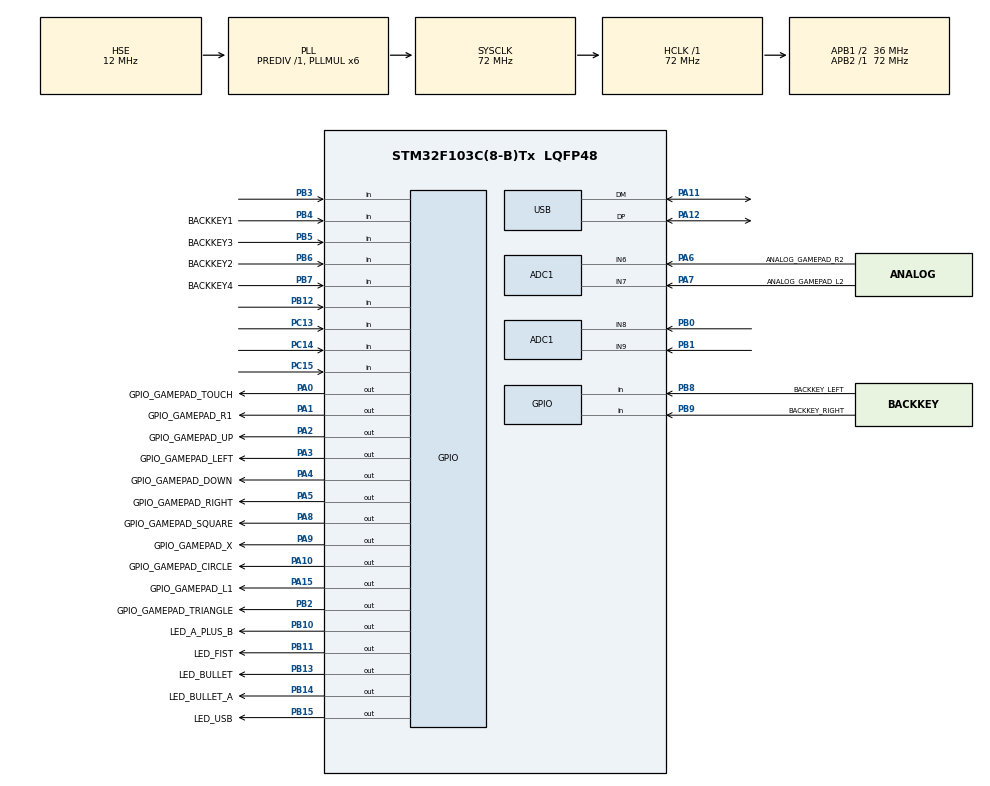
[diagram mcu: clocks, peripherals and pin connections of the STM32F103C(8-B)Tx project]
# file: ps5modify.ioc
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ADC1.Channel-0\#ChannelRegularConversion=ADC_CHANNEL_6
ADC1.Channel-1\#ChannelRegularConversion=ADC_CHANNEL_7
ADC1.Channel-2\#ChannelRegularConversion=ADC_CHANNEL_8
ADC1.Channel-3\#ChannelRegularConversion=ADC_CHANNEL_9
ADC1.NbrOfConversion=4
ADC1.NbrOfConversionFlag=1
ADC1.Rank-0\#ChannelRegularConversion=1
ADC1.Rank-1\#ChannelRegularConversion=2
ADC1.Rank-2\#ChannelRegularConversion=3
ADC1.Rank-3\#ChannelRegularConversion=4
ADC1.SamplingTime-0\#ChannelRegularConversion=ADC_SAMPLETIME_71CYCLES_5
ADC1.SamplingTime-1\#ChannelRegularConversion=ADC_SAMPLETIME_71CYCLES_5
ADC1.SamplingTime-2\#ChannelRegularConversion=ADC_SAMPLETIME_71CYCLES_5
ADC1.SamplingTime-3\#ChannelRegularConversion=ADC_SAMPLETIME_71CYCLES_5
ADC1.master=1
Dma.ADC1.0.Direction=DMA_PERIPH_TO_MEMORY
Dma.ADC1.0.Instance=DMA1_Channel1
Dma.ADC1.0.MemDataAlignment=DMA_MDATAALIGN_HALFWORD
Dma.ADC1.0.MemInc=DMA_MINC_ENABLE
Dma.ADC1.0.Mode=DMA_NORMAL
Dma.ADC1.0.PeriphDataAlignment=DMA_PDATAALIGN_HALFWORD
Dma.ADC1.0.PeriphInc=DMA_PINC_DISABLE
Dma.ADC1.0.Priority=DMA_PRIORITY_LOW
Dma.Request0=ADC1
Mcu.Family=STM32F1
Mcu.Name=STM32F103C(8-B)Tx
Mcu.Package=LQFP48
NVIC.DMA1_Channel1_IRQn=true\:0\:0\:false\:false\:true\:false\:true\:true
NVIC.PriorityGroup=NVIC_PRIORITYGROUP_4
NVIC.USB_HP_CAN1_TX_IRQn=true\:0\:0\:false\:false\:true\:true\:true\:true
NVIC.USB_LP_CAN1_RX0_IRQn=true\:0\:0\:false\:false\:true\:false\:true\:true
PA0-WKUP.GPIO_Label=GPIO_GAMEPAD_TOUCH
PA0-WKUP.GPIO_ModeDefaultOutputPP=GPIO_MODE_OUTPUT_OD
PA0-WKUP.GPIO_PuPd=GPIO_NOPULL
PA0-WKUP.PinState=GPIO_PIN_SET
PA0-WKUP.Signal=GPIO_Output
PA1.GPIO_Label=GPIO_GAMEPAD_R1
PA1.GPIO_ModeDefaultOutputPP=GPIO_MODE_OUTPUT_OD
PA1.GPIO_PuPd=GPIO_NOPULL
PA1.PinState=GPIO_PIN_SET
PA1.Signal=GPIO_Output
PA10.GPIO_Label=GPIO_GAMEPAD_CIRCLE
PA10.GPIO_ModeDefaultOutputPP=GPIO_MODE_OUTPUT_OD
PA10.GPIO_PuPd=GPIO_NOPULL
PA10.PinState=GPIO_PIN_SET
PA10.Signal=GPIO_Output
PA11.Mode=Device
PA11.Signal=USB_DM
PA12.Mode=Device
PA12.Signal=USB_DP
PA13.Mode=Serial_Wire
PA13.Signal=SYS_JTMS-SWDIO
PA14.Mode=Serial_Wire
PA14.Signal=SYS_JTCK-SWCLK
PA15.GPIO_Label=GPIO_GAMEPAD_L1
PA15.GPIO_ModeDefaultOutputPP=GPIO_MODE_OUTPUT_OD
PA15.GPIO_PuPd=GPIO_NOPULL
PA15.PinState=GPIO_PIN_SET
PA15.Signal=GPIO_Output
PA2.GPIO_Label=GPIO_GAMEPAD_UP
PA2.GPIO_ModeDefaultOutputPP=GPIO_MODE_OUTPUT_OD
PA2.GPIO_PuPd=GPIO_NOPULL
PA2.PinState=GPIO_PIN_SET
PA2.Signal=GPIO_Output
PA3.GPIO_Label=GPIO_GAMEPAD_LEFT
PA3.GPIO_ModeDefaultOutputPP=GPIO_MODE_OUTPUT_OD
PA3.GPIO_PuPd=GPIO_NOPULL
PA3.PinState=GPIO_PIN_SET
PA3.Signal=GPIO_Output
PA4.GPIO_Label=GPIO_GAMEPAD_DOWN
PA4.GPIO_ModeDefaultOutputPP=GPIO_MODE_OUTPUT_OD
PA4.GPIO_PuPd=GPIO_NOPULL
PA4.PinState=GPIO_PIN_SET
PA4.Signal=GPIO_Output
PA5.GPIO_Label=GPIO_GAMEPAD_RIGHT
PA5.GPIO_ModeDefaultOutputPP=GPIO_MODE_OUTPUT_OD
PA5.GPIO_PuPd=GPIO_NOPULL
PA5.PinState=GPIO_PIN_SET
PA5.Signal=GPIO_Output
PA6.GPIO_Label=ANALOG_GAMEPAD_R2
PA6.GPIO_ModeDefaultOutputPP=GPIO_MODE_OUTPUT_OD
PA6.GPIO_PuPd=GPIO_NOPULL
PA6.PinState=GPIO_PIN_SET
PA6.Signal=ADCx_IN6
PA7.GPIO_Label=ANALOG_GAMEPAD_L2
PA7.GPIO_ModeDefaultOutputPP=GPIO_MODE_OUTPUT_OD
PA7.GPIO_PuPd=GPIO_NOPULL
PA7.PinState=GPIO_PIN_SET
PA7.Signal=ADCx_IN7
PA8.GPIO_Label=GPIO_GAMEPAD_SQUARE
PA8.GPIO_ModeDefaultOutputPP=GPIO_MODE_OUTPUT_OD
PA8.GPIO_PuPd=GPIO_NOPULL
PA8.PinState=GPIO_PIN_SET
PA8.Signal=GPIO_Output
PA9.GPIO_Label=GPIO_GAMEPAD_X
PA9.GPIO_ModeDefaultOutputPP=GPIO_MODE_OUTPUT_OD
PA9.GPIO_PuPd=GPIO_NOPULL
PA9.PinState=GPIO_PIN_SET
PA9.Signal=GPIO_Output
PB0.Signal=ADCx_IN8
PB1.Signal=ADCx_IN9
PB10.GPIO_Label=LED_A_PLUS_B
PB10.GPIO_ModeDefaultOutputPP=GPIO_MODE_OUTPUT_PP
PB10.GPIO_PuPd=GPIO_NOPULL
PB10.Signal=GPIO_Output
PB11.GPIO_Label=LED_FIST
PB11.GPIO_ModeDefaultOutputPP=GPIO_MODE_OUTPUT_PP
PB11.GPIO_PuPd=GPIO_NOPULL
PB11.Signal=GPIO_Output
PB12.Signal=GPIO_Input
PB13.GPIO_Label=LED_BULLET
PB13.GPIO_ModeDefaultOutputPP=GPIO_MODE_OUTPUT_PP
PB13.GPIO_PuPd=GPIO_NOPULL
PB13.Signal=GPIO_Output
PB14.GPIO_Label=LED_BULLET_A
PB14.GPIO_ModeDefaultOutputPP=GPIO_MODE_OUTPUT_PP
PB14.GPIO_PuPd=GPIO_NOPULL
PB14.Signal=GPIO_Output
PB15.GPIO_Label=LED_USB
PB15.GPIO_ModeDefaultOutputPP=GPIO_MODE_OUTPUT_PP
PB15.GPIO_PuPd=GPIO_NOPULL
PB15.Signal=GPIO_Output
PB2.GPIO_Label=GPIO_GAMEPAD_TRIANGLE
PB2.GPIO_ModeDefaultOutputPP=GPIO_MODE_OUTPUT_OD
PB2.GPIO_PuPd=GPIO_NOPULL
PB2.PinState=GPIO_PIN_SET
PB2.Signal=GPIO_Output
PB3.Signal=GPIO_Input
PB4.GPIO_Label=BACKKEY1
PB4.Signal=GPIO_Input
PB5.GPIO_Label=BACKKEY3
PB5.Signal=GPIO_Input
PB6.GPIO_Label=BACKKEY2
PB6.Signal=GPIO_Input
PB7.GPIO_Label=BACKKEY4
PB7.Signal=GPIO_Input
PB8.GPIO_Label=BACKKEY_LEFT
PB8.Signal=GPIO_Input
PB9.GPIO_Label=BACKKEY_RIGHT
PB9.Signal=GPIO_Input
PC13-TAMPER-RTC.Signal=GPIO_Input
PC14-OSC32_IN.Signal=GPIO_Input
PC15-OSC32_OUT.Signal=GPIO_Input
PD0-OSC_IN.Mode=HSE-External-Oscillator
PD0-OSC_IN.Signal=RCC_OSC_IN
PD1-OSC_OUT.Mode=HSE-External-Oscillator
PD1-OSC_OUT.Signal=RCC_OSC_OUT
ProjectManager.HeapSize=0x200
ProjectManager.StackSize=0x400
ProjectManager.TargetToolchain=MDK-ARM V5
RCC.ADCPresc=RCC_ADCPCLK2_DIV6
RCC.AHBFreq_Value=72000000
RCC.APB1CLKDivider=RCC_HCLK_DIV2
RCC.APB1Freq_Value=36000000
RCC.APB1TimFreq_Value=72000000
RCC.APB2Freq_Value=72000000
RCC.APB2TimFreq_Value=72000000
RCC.HCLKFreq_Value=72000000
RCC.HSE_VALUE=12000000
RCC.PLLMUL=RCC_PLL_MUL6
RCC.PLLSourceVirtual=RCC_PLLSOURCE_HSE
RCC.SYSCLKFreq_VALUE=72000000
RCC.SYSCLKSource=RCC_SYSCLKSOURCE_PLLCLK
RCC.USBFreq_Value=48000000
RCC.USBPrescaler=RCC_USBCLKSOURCE_PLL_DIV1_5
SH.ADCx_IN6.0=ADC1_IN6,IN6
SH.ADCx_IN7.0=ADC1_IN7,IN7
SH.ADCx_IN8.0=ADC1_IN8,IN8
SH.ADCx_IN9.0=ADC1_IN9,IN9
USB_DEVICE.CLASS_NAME_FS=CDC
USB_DEVICE.USBD_SELF_POWERED=0
USB_DEVICE.VirtualMode=Cdc
USB_DEVICE.VirtualModeFS=Cdc_FS
VP_USB_DEVICE_VS_USB_DEVICE_CDC_FS.Mode=CDC_FS
board=custom

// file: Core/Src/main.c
/* USER CODE BEGIN Header */
/**
  ******************************************************************************
  * @file           : main.c
  * @brief          : Main program body
  ******************************************************************************
  * @attention
  *
  * Copyright (c) 2023 STMicroelectronics.
  * All rights reserved.
  *
  * This software is licensed under terms that can be found in the LICENSE file
  * in the root directory of this software component.
  * If no LICENSE file comes with this software, it is provided AS-IS.
  *
  ******************************************************************************
  */
/* USER CODE END Header */
#include "main.h"
#include "usb_device.h"

/* USER CODE BEGIN Includes */

#include "usbd_cdc_if.h"
/* USER CODE END Includes */

/* USER CODE BEGIN PTD */
// 通信协议
typedef struct{
	uint32_t preamble:24;
	uint32_t type:8;
	uint32_t Timestamp;
	uint32_t KeyStat;
} KeyMessage_t;//当有按键被按下时,下位机报给上位机

typedef struct{
	uint32_t preamble:24;
	uint32_t type:8;
	uint32_t Timestamp;
	uint32_t KeyStat;
} KeyOperation_t;//上位机发给下位机要求按下指定的按键
typedef enum{
	OP_PRESS,
	OP_WAIT,
	OP_JUMP,
} Operator_t;
typedef __packed struct {
	Operator_t Operator;
	int16_t Operand;
} Command_t;

/* USER CODE END PTD */

/* USER CODE BEGIN PM */
#define MAGICNUMBER 0x16DB2E
#define FRAME_KEYMESSAGE   0x01
#define FRAME_KEYOPERATION 0x02
#define FRAME_KEYPROGRAM   0x03
// 按键扫描码表
// 游戏机按键 可读可写
#define SCANCODE_TOUCH 0x00000001
#define SCANCODE_SQUARE 0x00000002
#define SCANCODE_X 0x00000004
#define SCANCODE_CIRCLE 0x00000008
#define SCANCODE_TRIANGLE 0x00000010
#define SCANCODE_UP 0x00000020
#define SCANCODE_DOWN 0x00000040
#define SCANCODE_LEFT 0x00000080
#define SCANCODE_RIGHT 0x00000100
#define SCANCODE_L1 0x00000200
#define SCANCODE_R1 0x00000400
#define SCANCODE_L2 0x00000800
#define SCANCODE_R2 0x00001000
//#define SCANCODE_L3 0x00002000
//#define SCANCODE_R3 0x00004000
// 背键 只读
#define SCANCODE_BACKKEY1 0x00010000
#define SCANCODE_BACKKEY2 0x00020000
#define SCANCODE_BACKKEY3 0x00040000
#define SCANCODE_BACKKEY4 0x00080000
#define SCANCODE_BACKKEYLEFT 0x00100000
#define SCANCODE_BACKKEYRIGHT 0x00200000

#define SCANCODE_ALL  0x003F07FF
#define SCANCODE_GAMEPAD  0x000007FF
#define SCANCODE_BACKKEY  0x003F0000
/* USER CODE END PM */

ADC_HandleTypeDef hadc1;
DMA_HandleTypeDef hdma_adc1;

/* USER CODE BEGIN PV */
const struct{
	Command_t prog_BACKKEY1[1024];
	Command_t prog_BACKKEY2[1024];
	Command_t prog_BACKKEY3[1024];
	Command_t prog_BACKKEY4[1024];
//	Command_t prog_BACKKEYLEFT[1024];
//	Command_t prog_BACKKEYRIGHT[1024];
} ProgramSet = {
	.prog_BACKKEY1 = {
		{OP_PRESS,SCANCODE_SQUARE},
		{OP_WAIT,41},
		{OP_PRESS,SCANCODE_CIRCLE},
		{OP_WAIT,19},
		{OP_PRESS,0},
		{OP_WAIT,38},
		{OP_JUMP,5}
	},
	.prog_BACKKEY2 = {
		{OP_PRESS,SCANCODE_R2},
		{OP_JUMP,2}
	},
	.prog_BACKKEY3 = {
		{OP_JUMP,1}
	},
	.prog_BACKKEY4 = {
		{OP_PRESS,SCANCODE_L2},
		{OP_JUMP,2}
	},
//	.prog_BACKKEYLEFT = {
//		{OP_JUMP,1}
//	},
//	.prog_BACKKEYRIGHT = {
//		{OP_JUMP,1}
//	},
};
// TODO 做从电脑download脚本的接口
//TODO 做从电脑下发按键的接口
uint32_t KeyStat,KeyPressed,KeyReleased;
/* USER CODE END PV */

void SystemClock_Config(void);
static void MX_GPIO_Init(void);
static void MX_DMA_Init(void);
static void MX_ADC1_Init(void);

/* USER CODE BEGIN 0 */
uint32_t ReadKeyStatus(){
	uint32_t stat=0;
	if(!HAL_GPIO_ReadPin(GPIO_GAMEPAD_TOUCH_GPIO_Port,GPIO_GAMEPAD_TOUCH_Pin))      stat |=  SCANCODE_TOUCH;
	if(!HAL_GPIO_ReadPin(GPIO_GAMEPAD_R1_GPIO_Port,GPIO_GAMEPAD_R1_Pin))            stat |=  SCANCODE_R1;
	if(!HAL_GPIO_ReadPin(GPIO_GAMEPAD_UP_GPIO_Port,GPIO_GAMEPAD_UP_Pin))            stat |=  SCANCODE_UP;
	if(!HAL_GPIO_ReadPin(GPIO_GAMEPAD_LEFT_GPIO_Port,GPIO_GAMEPAD_LEFT_Pin))        stat |=  SCANCODE_LEFT;
	if(!HAL_GPIO_ReadPin(GPIO_GAMEPAD_DOWN_GPIO_Port,GPIO_GAMEPAD_DOWN_Pin))        stat |=  SCANCODE_DOWN;
	if(!HAL_GPIO_ReadPin(GPIO_GAMEPAD_RIGHT_GPIO_Port,GPIO_GAMEPAD_RIGHT_Pin))      stat |=  SCANCODE_RIGHT;
	if(!HAL_GPIO_ReadPin(GPIO_GAMEPAD_TRIANGLE_GPIO_Port,GPIO_GAMEPAD_TRIANGLE_Pin))stat |=  SCANCODE_TRIANGLE;
	if(!HAL_GPIO_ReadPin(GPIO_GAMEPAD_SQUARE_GPIO_Port,GPIO_GAMEPAD_SQUARE_Pin))    stat |=  SCANCODE_SQUARE;
	if(!HAL_GPIO_ReadPin(GPIO_GAMEPAD_X_GPIO_Port,GPIO_GAMEPAD_X_Pin))              stat |=  SCANCODE_X;
	if(!HAL_GPIO_ReadPin(GPIO_GAMEPAD_CIRCLE_GPIO_Port,GPIO_GAMEPAD_CIRCLE_Pin))    stat |=  SCANCODE_CIRCLE;
	if(!HAL_GPIO_ReadPin(GPIO_GAMEPAD_L1_GPIO_Port,GPIO_GAMEPAD_L1_Pin))            stat |=  SCANCODE_L1;

	if(!HAL_GPIO_ReadPin(BACKKEY1_GPIO_Port,BACKKEY1_Pin))            stat |=  SCANCODE_BACKKEY1;
	if(!HAL_GPIO_ReadPin(BACKKEY2_GPIO_Port,BACKKEY2_Pin))            stat |=  SCANCODE_BACKKEY2;
	if(!HAL_GPIO_ReadPin(BACKKEY3_GPIO_Port,BACKKEY3_Pin))            stat |=  SCANCODE_BACKKEY3;
	if(!HAL_GPIO_ReadPin(BACKKEY4_GPIO_Port,BACKKEY4_Pin))            stat |=  SCANCODE_BACKKEY4;
	if(!HAL_GPIO_ReadPin(BACKKEY_LEFT_GPIO_Port,BACKKEY_LEFT_Pin))    stat |=  SCANCODE_BACKKEYLEFT;
	if(!HAL_GPIO_ReadPin(BACKKEY_RIGHT_GPIO_Port,BACKKEY_RIGHT_Pin))  stat |=  SCANCODE_BACKKEYRIGHT;

	uint16_t adcvalue[4];
	HAL_ADC_Start_DMA(&hadc1, (void*)adcvalue, 4);
	HAL_ADC_PollForConversion(&hadc1,10);
	if(adcvalue[0] < 0x0200)  stat |=  SCANCODE_R2;
	if(adcvalue[1] < 0x0200)  stat |=  SCANCODE_L2;
	return stat;

}
uint32_t ReadDejitteredKeyStat(){
	static uint32_t newKeyStat[2];
	newKeyStat[1] = newKeyStat[0];
	newKeyStat[0] = ReadKeyStatus();
	// 如果连续2次读取均稳定,则更新状态;否则不更新
	uint32_t newKeyStat_hi=newKeyStat[1] & newKeyStat[0];
	KeyPressed = (~KeyStat) & newKeyStat_hi & SCANCODE_ALL;
	KeyStat|=newKeyStat_hi;
	uint32_t newKeyStat_lo=~(newKeyStat[1] | newKeyStat[0]);
	KeyReleased = (KeyStat) & newKeyStat_lo &SCANCODE_ALL;
	KeyStat&=(~newKeyStat_lo);
	KeyStat&=SCANCODE_ALL;
	return KeyStat;
}
void WriteKeyStat(uint32_t KeyCode){
	HAL_GPIO_WritePin(GPIO_GAMEPAD_TOUCH_GPIO_Port,GPIO_GAMEPAD_TOUCH_Pin,(KeyCode & SCANCODE_TOUCH)?0:1);
	HAL_GPIO_WritePin(GPIO_GAMEPAD_R1_GPIO_Port,GPIO_GAMEPAD_R1_Pin,(KeyCode & SCANCODE_R1)?0:1);
	HAL_GPIO_WritePin(GPIO_GAMEPAD_UP_GPIO_Port,GPIO_GAMEPAD_UP_Pin,(KeyCode & SCANCODE_UP)?0:1);
	HAL_GPIO_WritePin(GPIO_GAMEPAD_LEFT_GPIO_Port,GPIO_GAMEPAD_LEFT_Pin,(KeyCode & SCANCODE_LEFT)?0:1);
	HAL_GPIO_WritePin(GPIO_GAMEPAD_DOWN_GPIO_Port,GPIO_GAMEPAD_DOWN_Pin,(KeyCode & SCANCODE_DOWN)?0:1);
	HAL_GPIO_WritePin(GPIO_GAMEPAD_RIGHT_GPIO_Port,GPIO_GAMEPAD_RIGHT_Pin,(KeyCode & SCANCODE_RIGHT)?0:1);
	HAL_GPIO_WritePin(GPIO_GAMEPAD_TRIANGLE_GPIO_Port,GPIO_GAMEPAD_TRIANGLE_Pin,(KeyCode & SCANCODE_TRIANGLE)?0:1);
	HAL_GPIO_WritePin(GPIO_GAMEPAD_SQUARE_GPIO_Port,GPIO_GAMEPAD_SQUARE_Pin,(KeyCode & SCANCODE_SQUARE)?0:1);
	HAL_GPIO_WritePin(GPIO_GAMEPAD_X_GPIO_Port,GPIO_GAMEPAD_X_Pin,(KeyCode & SCANCODE_X)?0:1);
	HAL_GPIO_WritePin(GPIO_GAMEPAD_CIRCLE_GPIO_Port,GPIO_GAMEPAD_CIRCLE_Pin,(KeyCode & SCANCODE_CIRCLE)?0:1);
	HAL_GPIO_WritePin(GPIO_GAMEPAD_L1_GPIO_Port,GPIO_GAMEPAD_L1_Pin,(KeyCode & SCANCODE_L1)?0:1);
	HAL_GPIO_WritePin(ANALOG_GAMEPAD_L2_GPIO_Port,ANALOG_GAMEPAD_L2_Pin,(KeyCode & SCANCODE_L2)?0:1);
	HAL_GPIO_WritePin(ANALOG_GAMEPAD_R2_GPIO_Port,ANALOG_GAMEPAD_R2_Pin,(KeyCode & SCANCODE_R2)?0:1);
}
const int FrameInterval = 10;// 10ms按键扫描间隔

/* USER CODE END 0 */

int main(void)
{

  /* MCU Configuration--------------------------------------------------------*/

  /* Reset of all peripherals, Initializes the Flash interface and the Systick. */
  HAL_Init();

  /* Configure the system clock */
  SystemClock_Config();

  /* Initialize all configured peripherals */
  MX_GPIO_Init();
  MX_DMA_Init();
  MX_USB_DEVICE_Init();
  MX_ADC1_Init();
  /* USER CODE BEGIN 2 */
  GPIO_InitTypeDef GPIO_InitStruct = {0};
	GPIO_InitStruct.Pin = ANALOG_GAMEPAD_R2_Pin|ANALOG_GAMEPAD_L2_Pin;
	GPIO_InitStruct.Mode = GPIO_MODE_OUTPUT_OD;
  GPIO_InitStruct.Pull = GPIO_NOPULL;
  GPIO_InitStruct.Speed = GPIO_SPEED_FREQ_LOW;
	HAL_GPIO_WritePin(ANALOG_GAMEPAD_R2_GPIO_Port,ANALOG_GAMEPAD_R2_Pin,1);
	HAL_GPIO_WritePin(ANALOG_GAMEPAD_R2_GPIO_Port,ANALOG_GAMEPAD_L2_Pin,1);
	HAL_GPIO_Init(ANALOG_GAMEPAD_R2_GPIO_Port, &GPIO_InitStruct);
  /* USER CODE END 2 */

  /* Infinite loop */
  /* USER CODE BEGIN WHILE */
 static uint8_t DEBUGDATA[200];
 uint32_t t=HAL_GetTick();
 enum{
	 STAT_IDLE,
	 STAT_BACKKEY1,
	 STAT_BACKKEY2,
	 STAT_BACKKEY3,
	 STAT_BACKKEY4,
	 STAT_BACKKEY_LEFT,
	 STAT_BACKKEY_RIGHT
 }status;
 uint16_t PC,A,B;

  while (1)
  {
    /* USER CODE END WHILE */

    /* USER CODE BEGIN 3 */
		if(HAL_GetTick() > FrameInterval + t){
			t=HAL_GetTick();
			uint32_t stat = ReadDejitteredKeyStat();
			//如果有操作 发送消息给上位机
			if(KeyPressed|KeyReleased){
				KeyMessage_t msg = {MAGICNUMBER,FRAME_KEYMESSAGE,HAL_GetTick(),stat};
				CDC_Transmit_FS((void*)&msg,sizeof(msg));
			}

			// 按键状态机
			switch(status){
				case STAT_IDLE:{
					if(KeyPressed & SCANCODE_BACKKEY1){
						A=B=PC=0;
						status = STAT_BACKKEY1;
					}
					if(KeyPressed & SCANCODE_BACKKEY2){
						A=B=PC=0;
						status = STAT_BACKKEY2;
					}
					if(KeyPressed & SCANCODE_BACKKEY3){
						A=B=PC=0;
						status = STAT_BACKKEY3;
					}
					if(KeyPressed & SCANCODE_BACKKEY4){
						A=B=PC=0;
						status = STAT_BACKKEY4;
					}
				}break;
				case STAT_BACKKEY1:{
					if(KeyReleased & SCANCODE_BACKKEY1){
						WriteKeyStat(0);
						status = STAT_IDLE;
					}else {
						Command_t cmd = ProgramSet.prog_BACKKEY1[PC];
						switch(cmd.Operator){
							case OP_PRESS:WriteKeyStat(cmd.Operand);break;
							case OP_WAIT:PC--;B++;if(B>=cmd.Operand){PC++;B=0;}break;
							case OP_JUMP:PC-=cmd.Operand;break;
						}
					}
					PC++;
				}break;
				case STAT_BACKKEY2:{
					if(KeyReleased & SCANCODE_BACKKEY2){
						WriteKeyStat(0);
						status = STAT_IDLE;
					}else {
						Command_t cmd = ProgramSet.prog_BACKKEY2[PC];
						switch(cmd.Operator){
							case OP_PRESS:WriteKeyStat(cmd.Operand);break;
							case OP_WAIT:PC--;B++;if(B>=cmd.Operand){PC++;B=0;}break;
							case OP_JUMP:PC-=cmd.Operand;break;
						}
					}
					PC++;
				}break;
				case STAT_BACKKEY3:{
					if(KeyReleased & SCANCODE_BACKKEY3){
						WriteKeyStat(0);
						status = STAT_IDLE;
					}else {
						Command_t cmd = ProgramSet.prog_BACKKEY3[PC];
						switch(cmd.Operator){
							case OP_PRESS:WriteKeyStat(cmd.Operand);break;
							case OP_WAIT:PC--;B++;if(B>=cmd.Operand){PC++;B=0;}break;
							case OP_JUMP:PC-=cmd.Operand;break;
						}
					}
					PC++;
				}break;
				case STAT_BACKKEY4:{
					if(KeyReleased & SCANCODE_BACKKEY4){
						WriteKeyStat(0);
						status = STAT_IDLE;
					}else {
						Command_t cmd = ProgramSet.prog_BACKKEY4[PC];
						switch(cmd.Operator){
							case OP_PRESS:WriteKeyStat(cmd.Operand);break;
							case OP_WAIT:PC--;B++;if(B>=cmd.Operand){PC++;B=0;}break;
							case OP_JUMP:PC-=cmd.Operand;break;
						}
					}
					PC++;
				}break;
				default:status = STAT_IDLE;break;
			}
		}

  }
  /* USER CODE END 3 */
}

void SystemClock_Config(void)
{
  RCC_OscInitTypeDef RCC_OscInitStruct = {0};
  RCC_ClkInitTypeDef RCC_ClkInitStruct = {0};
  RCC_PeriphCLKInitTypeDef PeriphClkInit = {0};

  /** Initializes the RCC Oscillators according to the specified parameters
  * in the RCC_OscInitTypeDef structure.
  */
  RCC_OscInitStruct.OscillatorType = RCC_OSCILLATORTYPE_HSE;
  RCC_OscInitStruct.HSEState = RCC_HSE_ON;
  RCC_OscInitStruct.HSEPredivValue = RCC_HSE_PREDIV_DIV1;
  RCC_OscInitStruct.HSIState = RCC_HSI_ON;
  RCC_OscInitStruct.PLL.PLLState = RCC_PLL_ON;
  RCC_OscInitStruct.PLL.PLLSource = RCC_PLLSOURCE_HSE;
  RCC_OscInitStruct.PLL.PLLMUL = RCC_PLL_MUL6;
  if (HAL_RCC_OscConfig(&RCC_OscInitStruct) != HAL_OK)
  {
    Error_Handler();
  }

  /** Initializes the CPU, AHB and APB buses clocks
  */
  RCC_ClkInitStruct.ClockType = RCC_CLOCKTYPE_HCLK|RCC_CLOCKTYPE_SYSCLK
                              |RCC_CLOCKTYPE_PCLK1|RCC_CLOCKTYPE_PCLK2;
  RCC_ClkInitStruct.SYSCLKSource = RCC_SYSCLKSOURCE_PLLCLK;
  RCC_ClkInitStruct.AHBCLKDivider = RCC_SYSCLK_DIV1;
  RCC_ClkInitStruct.APB1CLKDivider = RCC_HCLK_DIV2;
  RCC_ClkInitStruct.APB2CLKDivider = RCC_HCLK_DIV1;

  if (HAL_RCC_ClockConfig(&RCC_ClkInitStruct, FLASH_LATENCY_2) != HAL_OK)
  {
    Error_Handler();
  }
  PeriphClkInit.PeriphClockSelection = RCC_PERIPHCLK_ADC|RCC_PERIPHCLK_USB;
  PeriphClkInit.AdcClockSelection = RCC_ADCPCLK2_DIV6;
  PeriphClkInit.UsbClockSelection = RCC_USBCLKSOURCE_PLL_DIV1_5;
  if (HAL_RCCEx_PeriphCLKConfig(&PeriphClkInit) != HAL_OK)
  {
    Error_Handler();
  }
}

static void MX_ADC1_Init(void)
{

  ADC_ChannelConfTypeDef sConfig = {0};

  /** Common config
  */
  hadc1.Instance = ADC1;
  hadc1.Init.ScanConvMode = ADC_SCAN_ENABLE;
  hadc1.Init.ContinuousConvMode = DISABLE;
  hadc1.Init.DiscontinuousConvMode = DISABLE;
  hadc1.Init.ExternalTrigConv = ADC_SOFTWARE_START;
  hadc1.Init.DataAlign = ADC_DATAALIGN_RIGHT;
  hadc1.Init.NbrOfConversion = 4;
  if (HAL_ADC_Init(&hadc1) != HAL_OK)
  {
    Error_Handler();
  }

  /** Configure Regular Channel
  */
  sConfig.Channel = ADC_CHANNEL_6;
  sConfig.Rank = ADC_REGULAR_RANK_1;
  sConfig.SamplingTime = ADC_SAMPLETIME_71CYCLES_5;
  if (HAL_ADC_ConfigChannel(&hadc1, &sConfig) != HAL_OK)
  {
    Error_Handler();
  }

  /** Configure Regular Channel
  */
  sConfig.Channel = ADC_CHANNEL_7;
  sConfig.Rank = ADC_REGULAR_RANK_2;
  if (HAL_ADC_ConfigChannel(&hadc1, &sConfig) != HAL_OK)
  {
    Error_Handler();
  }

  /** Configure Regular Channel
  */
  sConfig.Channel = ADC_CHANNEL_8;
  sConfig.Rank = ADC_REGULAR_RANK_3;
  if (HAL_ADC_ConfigChannel(&hadc1, &sConfig) != HAL_OK)
  {
    Error_Handler();
  }

  /** Configure Regular Channel
  */
  sConfig.Channel = ADC_CHANNEL_9;
  sConfig.Rank = ADC_REGULAR_RANK_4;
  if (HAL_ADC_ConfigChannel(&hadc1, &sConfig) != HAL_OK)
  {
    Error_Handler();
  }

}

static void MX_DMA_Init(void)
{

  /* DMA controller clock enable */
  __HAL_RCC_DMA1_CLK_ENABLE();

  /* DMA interrupt init */
  /* DMA1_Channel1_IRQn interrupt configuration */
  HAL_NVIC_SetPriority(DMA1_Channel1_IRQn, 0, 0);
  HAL_NVIC_EnableIRQ(DMA1_Channel1_IRQn);

}

static void MX_GPIO_Init(void)
{
  GPIO_InitTypeDef GPIO_InitStruct = {0};

  /* GPIO Ports Clock Enable */
  __HAL_RCC_GPIOC_CLK_ENABLE();
  __HAL_RCC_GPIOD_CLK_ENABLE();
  __HAL_RCC_GPIOA_CLK_ENABLE();
  __HAL_RCC_GPIOB_CLK_ENABLE();

  /*Configure GPIO pin Output Level */
  HAL_GPIO_WritePin(GPIOA, GPIO_GAMEPAD_TOUCH_Pin|GPIO_GAMEPAD_R1_Pin|GPIO_GAMEPAD_UP_Pin|GPIO_GAMEPAD_LEFT_Pin
                          |GPIO_GAMEPAD_DOWN_Pin|GPIO_GAMEPAD_RIGHT_Pin|GPIO_GAMEPAD_SQUARE_Pin|GPIO_GAMEPAD_X_Pin
                          |GPIO_GAMEPAD_CIRCLE_Pin|GPIO_GAMEPAD_L1_Pin, GPIO_PIN_SET);

  /*Configure GPIO pin Output Level */
  HAL_GPIO_WritePin(GPIO_GAMEPAD_TRIANGLE_GPIO_Port, GPIO_GAMEPAD_TRIANGLE_Pin, GPIO_PIN_SET);

  /*Configure GPIO pin Output Level */
  HAL_GPIO_WritePin(GPIOB, LED_A_PLUS_B_Pin|LED_FIST_Pin|LED_BULLET_Pin|LED_BULLET_A_Pin
                          |LED_USB_Pin, GPIO_PIN_RESET);

  /*Configure GPIO pins : PC13 PC14 PC15 */
  GPIO_InitStruct.Pin = GPIO_PIN_13|GPIO_PIN_14|GPIO_PIN_15;
  GPIO_InitStruct.Mode = GPIO_MODE_INPUT;
  GPIO_InitStruct.Pull = GPIO_NOPULL;
  HAL_GPIO_Init(GPIOC, &GPIO_InitStruct);

  /*Configure GPIO pins : GPIO_GAMEPAD_TOUCH_Pin GPIO_GAMEPAD_R1_Pin GPIO_GAMEPAD_UP_Pin GPIO_GAMEPAD_LEFT_Pin
                           GPIO_GAMEPAD_DOWN_Pin GPIO_GAMEPAD_RIGHT_Pin GPIO_GAMEPAD_SQUARE_Pin GPIO_GAMEPAD_X_Pin
                           GPIO_GAMEPAD_CIRCLE_Pin GPIO_GAMEPAD_L1_Pin */
  GPIO_InitStruct.Pin = GPIO_GAMEPAD_TOUCH_Pin|GPIO_GAMEPAD_R1_Pin|GPIO_GAMEPAD_UP_Pin|GPIO_GAMEPAD_LEFT_Pin
                          |GPIO_GAMEPAD_DOWN_Pin|GPIO_GAMEPAD_RIGHT_Pin|GPIO_GAMEPAD_SQUARE_Pin|GPIO_GAMEPAD_X_Pin
                          |GPIO_GAMEPAD_CIRCLE_Pin|GPIO_GAMEPAD_L1_Pin;
  GPIO_InitStruct.Mode = GPIO_MODE_OUTPUT_OD;
  GPIO_InitStruct.Pull = GPIO_NOPULL;
  GPIO_InitStruct.Speed = GPIO_SPEED_FREQ_LOW;
  HAL_GPIO_Init(GPIOA, &GPIO_InitStruct);

  /*Configure GPIO pin : GPIO_GAMEPAD_TRIANGLE_Pin */
  GPIO_InitStruct.Pin = GPIO_GAMEPAD_TRIANGLE_Pin;
  GPIO_InitStruct.Mode = GPIO_MODE_OUTPUT_OD;
  GPIO_InitStruct.Pull = GPIO_NOPULL;
  GPIO_InitStruct.Speed = GPIO_SPEED_FREQ_LOW;
  HAL_GPIO_Init(GPIO_GAMEPAD_TRIANGLE_GPIO_Port, &GPIO_InitStruct);

  /*Configure GPIO pins : LED_A_PLUS_B_Pin LED_FIST_Pin LED_BULLET_Pin LED_BULLET_A_Pin
                           LED_USB_Pin */
  GPIO_InitStruct.Pin = LED_A_PLUS_B_Pin|LED_FIST_Pin|LED_BULLET_Pin|LED_BULLET_A_Pin
                          |LED_USB_Pin;
  GPIO_InitStruct.Mode = GPIO_MODE_OUTPUT_PP;
  GPIO_InitStruct.Pull = GPIO_NOPULL;
  GPIO_InitStruct.Speed = GPIO_SPEED_FREQ_LOW;
  HAL_GPIO_Init(GPIOB, &GPIO_InitStruct);

  /*Configure GPIO pins : PB12 PB3 BACKKEY1_Pin BACKKEY3_Pin
                           BACKKEY2_Pin BACKKEY4_Pin BACKKEY_LEFT_Pin BACKKEY_RIGHT_Pin */
  GPIO_InitStruct.Pin = GPIO_PIN_12|GPIO_PIN_3|BACKKEY1_Pin|BACKKEY3_Pin
                          |BACKKEY2_Pin|BACKKEY4_Pin|BACKKEY_LEFT_Pin|BACKKEY_RIGHT_Pin;
  GPIO_InitStruct.Mode = GPIO_MODE_INPUT;
  GPIO_InitStruct.Pull = GPIO_NOPULL;
  HAL_GPIO_Init(GPIOB, &GPIO_InitStruct);

}

void Error_Handler(void)
{
  __disable_irq();
  while (1)
  {
  }
}
